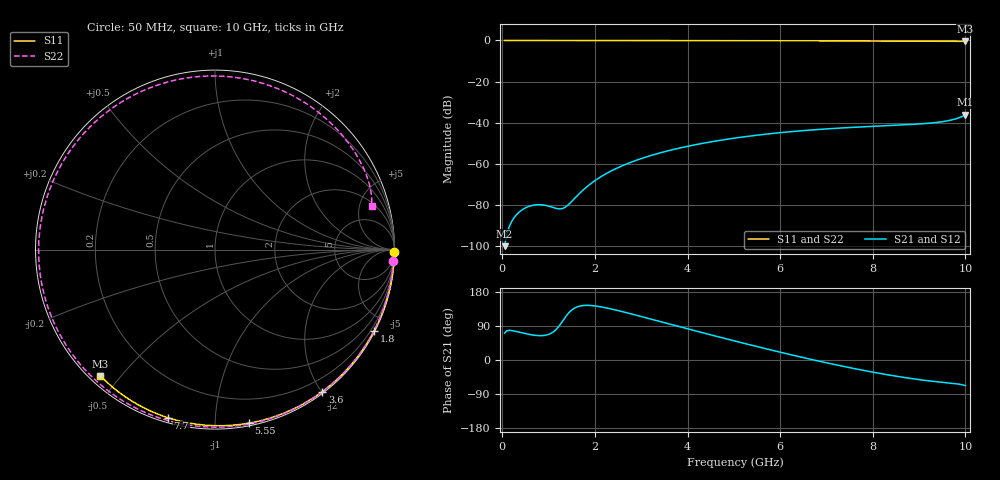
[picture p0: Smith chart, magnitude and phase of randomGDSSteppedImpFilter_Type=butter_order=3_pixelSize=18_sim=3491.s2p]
! freq	dB(S11)	phase(S11)	dB(S12)	phase(S12)
!  dB(S21)	phase(S21)	dB(S22)	phase(S22)
!S-par simulation data
#  GHz  S  DB  R 50
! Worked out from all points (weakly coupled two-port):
!   200 points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, 50 MHz to 10 GHz, reference 50 ohm
!   highest |S21| = -36.16 dB at 10 GHz (marker M1); lowest = -100.0 dB at 50 MHz (marker M2)
!   lowest |S11| = -0.4 dB at 10 GHz (marker M3), VSWR 38.82, Z = 1.54 - j22.1 ohm
!   |S11| at or under -10 dB: nowhere
!   |S22| runs from -0.9 to 0.0 dB; largest |S21 - S12| = 0
!   S11 on the Smith chart (normalised r, x): 50 MHz: open; 1.8 GHz: 0.04, -4.15; 3.6 GHz: 0.02, -2.01; 5.55 GHz: 0.02, -1.21; 7.7 GHz: 0.02, -0.76; 10 GHz: 0.03, -0.44
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0.05  -0.01 -0.8  -100.04 70.9  -100.04 70.9  -0.04 -3.5
0.45  -0.01 -6.8  -82.04 71.1  -82.04 71.1  -0.05 -30.8
0.9  -0.02 -13.6  -80.05 64.7  -80.05 64.7  -0.07 -59.4
1.15  -0.02 -17.4  -81.58 79.0  -81.58 79.0  -0.08 -73.9
1.4  -0.03 -21.1  -80.40 119.4  -80.40 119.4  -0.09 -87.3
1.75  -0.03 -26.3  -72.64 143.8  -72.64 143.8  -0.11 -104.3
1.8  -0.03 -27.1  -71.65 144.2  -71.65 144.2  -0.11 -106.6
2.15  -0.04 -32.2  -65.98 139.8  -65.98 139.8  -0.11 -121.5
2.55  -0.05 -38.0  -61.34 128.9  -61.34 128.9  -0.12 -136.8
2.95  -0.06 -43.8  -57.82 116.4  -57.82 116.4  -0.13 -150.5
3.4  -0.07 -50.1  -54.72 101.8  -54.72 101.8  -0.14 -164.5
3.6  -0.07 -52.9  -53.54 95.3  -53.54 95.3  -0.14 -170.4
4.3  -0.09 -62.6  -50.14 72.7  -50.14 72.7  -0.16 170.2
5.05  -0.11 -72.6  -47.39 49.2  -47.39 49.2  -0.19 150.8
5.55  -0.13 -79.1  -45.94 34.0  -45.94 34.0  -0.21 138.2
6.7  -0.18 -93.5  -43.49 0.8  -43.49 0.8  -0.26 109.2
7.7  -0.24 -105.6  -42.10 -25.1  -42.10 -25.1  -0.30 83.1
8.35  -0.29 -113.2  -41.40 -39.6  -41.40 -39.6  -0.34 65.6
8.95  -0.34 -120.2  -40.68 -50.9  -40.68 -50.9  -0.39 48.9
9.5  -0.39 -126.5  -39.51 -58.9  -39.51 -58.9  -0.47 32.9
9.8  -0.43 -129.9  -38.06 -62.7  -38.06 -62.7  -0.59 23.3
10  -0.45 -132.2  -36.16 -67.7  -36.16 -67.7  -0.86 15.6
